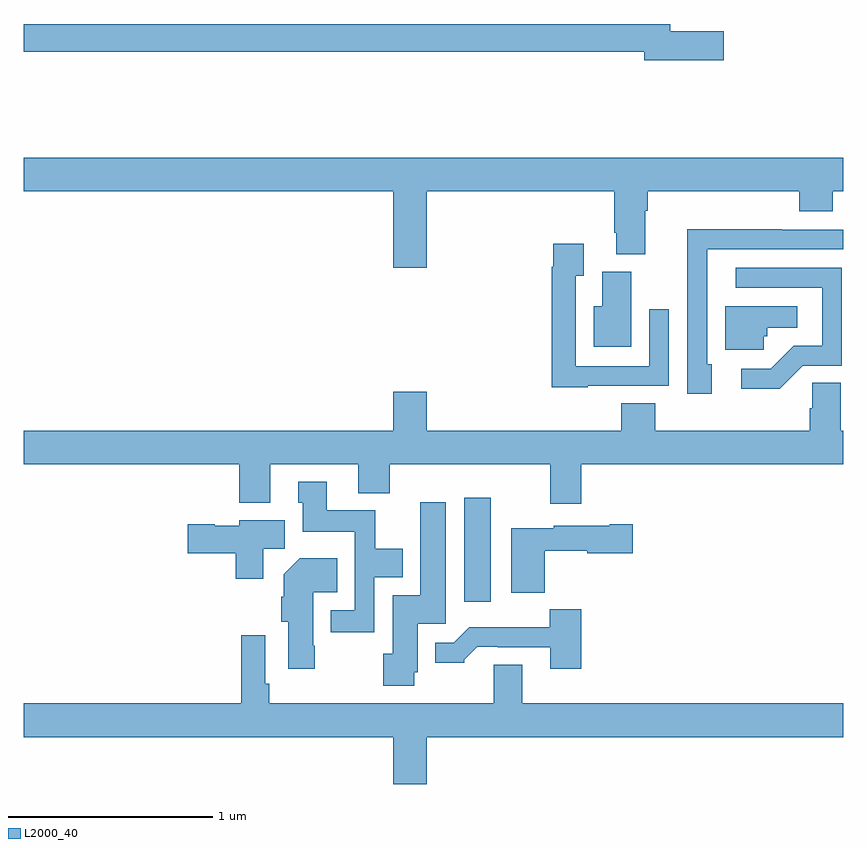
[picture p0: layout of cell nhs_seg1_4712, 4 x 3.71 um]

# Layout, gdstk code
import gdstk
lib = gdstk.Library(unit=1e-6, precision=1e-09)
def R(c, l, rs):  # rectangles x0, y0, x1, y1
    for r in rs: c.add(gdstk.rectangle(r[:2], r[2:], *l))
def P(c, l, *ps):  # polygons
    for p in ps: c.add(gdstk.Polygon(p, *l))
L2000_40 = (2000, 40)

nhs_seg1_4712 = lib.new_cell('nhs_seg1_4712')
R(nhs_seg1_4712, L2000_40, [(369.149,523.089,369.28,523.597)])
P(nhs_seg1_4712, L2000_40, [(370.417,525.872),(370.156,525.872),(370.156,525.908),(367,525.908),(367,525.772),(370.028,525.772),(370.028,525.73),(370.417,525.73)],
  [(368.968,525.092),(369.881,525.092),(369.881,524.89),(369.893,524.89),(369.893,524.785),(370.033,524.785),(370.033,524.996),(370.046,524.996),(370.046,525.092),(370.784,525.092),(370.784,524.993),(370.949,524.993),(370.949,525.092),(371,525.092),(371,525.256),(367,525.256),(367,525.092),(368.804,525.092),(368.804,524.718),(368.968,524.718)],
  [(370.357,524.247),(370.335,524.247),(370.335,524.808),(371,524.808),(371,524.904),(370.7,524.904),(370.7,524.906),(370.238,524.906),(370.238,524.602),(370.239,524.602),(370.239,524.103),(370.357,524.103)],
  [(369.753,524.142),(370.149,524.142),(370.149,524.515),(370.053,524.515),(370.053,524.238),(369.693,524.238),(369.693,524.68),(369.733,524.68),(369.733,524.836),(369.585,524.836),(369.585,524.723),(369.577,524.723),(369.577,524.135),(369.753,524.135)],
  [(370.803,524.241),(370.992,524.241),(370.992,524.718),(370.476,524.718),(370.476,524.622),(370.896,524.622),(370.896,524.337),(370.758,524.337),(370.647,524.226),(370.503,524.226),(370.503,524.129),(370.69,524.129)],
  [(369.964,524.7),(369.824,524.7),(369.824,524.53),(369.782,524.53),(369.782,524.333),(369.964,524.333)],
  [(370.611,524.385),(370.63,524.385),(370.63,524.426),(370.774,524.426),(370.774,524.53),(370.424,524.53),(370.424,524.319),(370.611,524.319)],
  [(369.722,523.76),(371,523.76),(371,523.924),(370.987,523.924),(370.987,524.156),(370.848,524.156),(370.848,524.033),(370.835,524.033),(370.835,523.924),(370.082,523.924),(370.082,524.057),(369.917,524.057),(369.917,523.924),(368.968,523.924),(368.968,524.113),(368.804,524.113),(368.804,523.924),(367,523.924),(367,523.76),(368.051,523.76),(368.051,523.571),(368.203,523.571),(368.203,523.76),(368.633,523.76),(368.633,523.619),(368.786,523.619),(368.786,523.76),(369.569,523.76),(369.569,523.566),(369.722,523.566)],
  [(368.712,523.208),(368.851,523.208),(368.851,523.348),(368.715,523.348),(368.715,523.534),(368.479,523.534),(368.479,523.675),(368.339,523.675),(368.339,523.572),(368.363,523.572),(368.363,523.43),(368.616,523.43),(368.616,523.047),(368.499,523.047),(368.499,522.939),(368.712,522.939)],
  [(368.907,522.744),(368.923,522.744),(368.923,522.981),(369.061,522.981),(369.061,523.573),(368.936,523.573),(368.936,523.12),(368.801,523.12),(368.801,522.834),(368.755,522.834),(368.755,522.678),(368.907,522.678)],
  [(368.17,523.348),(368.275,523.348),(368.275,523.486),(368.052,523.486),(368.052,523.459),(367.932,523.459),(367.932,523.467),(367.8,523.467),(367.8,523.325),(368.036,523.325),(368.036,523.2),(368.17,523.2)],
  [(369.542,523.337),(369.75,523.337),(369.75,523.325),(369.973,523.325),(369.973,523.467),(369.86,523.467),(369.86,523.459),(369.588,523.459),(369.588,523.447),(369.38,523.447),(369.38,523.133),(369.542,523.133)],
  [(368.421,522.874),(368.413,522.874),(368.413,523.136),(368.531,523.136),(368.531,523.3),(368.348,523.3),(368.27,523.222),(368.27,523.112),(368.258,523.112),(368.258,522.99),(368.291,522.99),(368.291,522.762),(368.421,522.762)],
  [(369.722,523.051),(369.567,523.051),(369.567,522.964),(369.175,522.964),(369.099,522.888),(369.008,522.888),(369.008,522.791),(369.15,522.791),(369.15,522.806),(369.214,522.87),(369.313,522.87),(369.313,522.867),(369.569,522.867),(369.569,522.762),(369.722,522.762)],
  [(368.968,522.428),(371,522.428),(371,522.592),(369.433,522.592),(369.433,522.782),(369.293,522.782),(369.293,522.592),(368.198,522.592),(368.198,522.688),(368.178,522.688),(368.178,522.925),(368.062,522.925),(368.062,522.592),(367,522.592),(367,522.428),(368.804,522.428),(368.804,522.199),(368.968,522.199)])

lib.write_gds('nhs_seg1_4712.gds')
